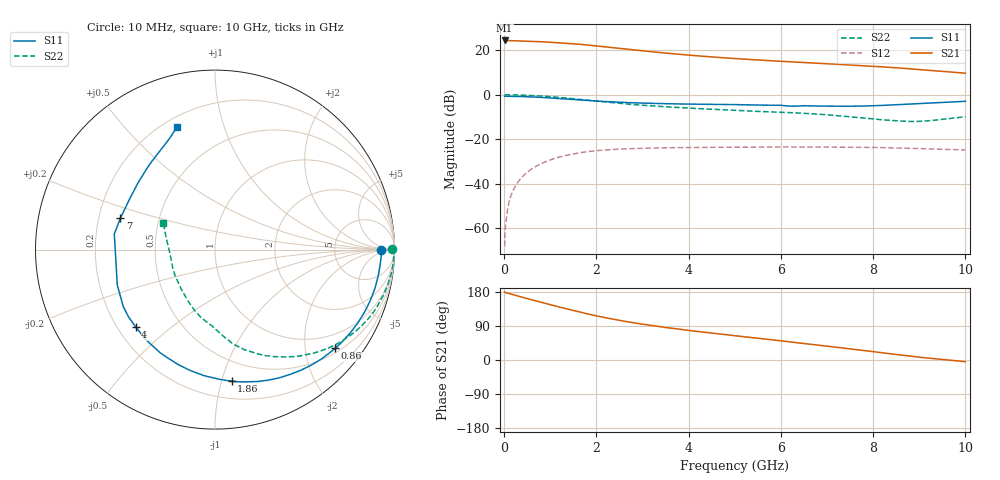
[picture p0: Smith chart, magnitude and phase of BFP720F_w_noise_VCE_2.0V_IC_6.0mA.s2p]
! Infineon Technologies  Discrete & RF Semiconductors
! BFP720F
! VCE =  2.0 V,  IC =  6.0 mA
! Common Emitter S-Parameters:  Jan 2016
# GHz  S  MA  R  50
!  f  S11  S21  S12  S22
! GHz  MAG  ANG  MAG  ANG  MAG  ANG  MAG  ANG
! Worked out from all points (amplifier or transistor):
!   233 points, 10 MHz to 10 GHz, reference 50 ohm
!   highest |S21| = 24.4 dB at 10 MHz (marker M1)
!   |S21| within 3 dB of that: start of sweep to 2.247 GHz
!   unconditionally stable (mu >= 1): start of sweep to 11.28 MHz; 7.567 GHz to end of sweep
!   at 200 MHz: K = 0.04, MSG = 33.5 dB, |S12| = -42.7 dB
!   at 1.74 GHz: K = 0.23, MSG = 24.1 dB, |S12| = -25.7 dB
!   at 10 GHz: K = 1.29, MAG = 14.0 dB, |S12| = -24.8 dB
!   lowest NFmin = 0.45 dB at 450 MHz
!   S11 on the Smith chart (normalised r, x): 10 MHz: 25, -1; 860 MHz: 0.61, -2.67; 1.86 GHz: 0.33, -1.08; 4 GHz: 0.27, -0.38; 7 GHz: 0.29, +0.15; 10 GHz: 0.25, +0.70
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0.01  0.9243 -0.2  16.55 179.5  0.0004 -6.0  0.9859 0.3
0.02  0.9279 -0.9  16.34 177.7  0.0009 93.5  0.9993 -1.2
0.05  0.9266 -2.4  16.51 177.7  0.0017 83.7  0.9966 -1.6
0.105  0.9247 -4.7  16.48 175.6  0.0039 86.3  0.9968 -3.2
0.185  0.9214 -8.4  16.34 172.7  0.0068 84.9  0.9936 -5.6
0.44  0.9067 -20.1  15.96 164.0  0.016 77.8  0.9767 -13.5
0.86  0.8658 -39.4  15.4 150.4  0.0303 65.8  0.9276 -26.0
1.28  0.8137 -58.1  14.43 137.2  0.0422 54.5  0.856 -38.1
1.68  0.7605 -75.6  13.45 125.2  0.0507 44.8  0.7785 -48.7
1.86  0.7386 -82.8  12.89 120.2  0.0537 40.8  0.745 -53.0
2.2  0.7046 -95.1  11.87 111.5  0.058 33.9  0.6859 -60.5
2.6  0.6733 -107.5  10.7 102.4  0.0612 27.1  0.6272 -67.8
3  0.6516 -117.8  9.689 94.5  0.0632 21.9  0.5818 -73.6
3.4  0.6344 -125.8  8.821 87.6  0.0643 17.5  0.5457 -77.8
4  0.6174 -135.7  7.757 77.9  0.0655 11.9  0.5015 -82.7
5.1  0.5984 -149.3  6.402 62.7  0.0667 4.4  0.4428 -89.8
6  0.5791 -160.1  5.645 50.6  0.0673 -0.8  0.406 -96.5
6.8  0.5584 165.4  5.1 39.4  0.0671 -5.4  0.3667 -106.1
7  0.5555 161.5  4.977 36.5  0.067 -6.5  0.3561 -108.9
8.4  0.5903 130.0  4.098 16.0  0.0645 -14.1  0.2651 -147.1
9  0.6334 118.3  3.675 7.4  0.0618 -16.5  0.2528 -176.1
10  0.7131 107.4  3.049 -4.4  0.0578 -18.2  0.3231 152.8
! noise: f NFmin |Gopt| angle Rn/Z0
0.45  0.45  0.44  3  0.16
0.9  0.47  0.42  10  0.17
1.8  0.52  0.38  19  0.16
2.4  0.56  0.37  28  0.14
5.5  0.74  0.34  62  0.09
10  0.97  0.25  -105  0.15
